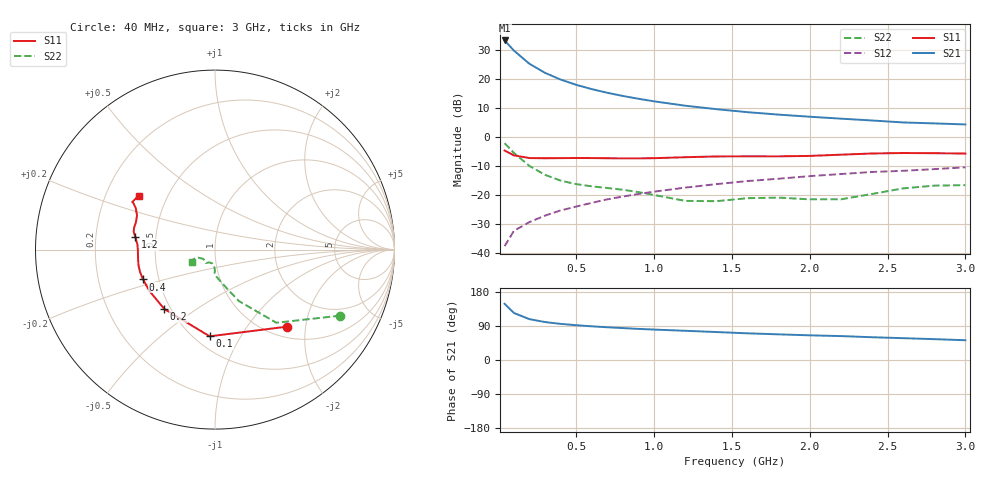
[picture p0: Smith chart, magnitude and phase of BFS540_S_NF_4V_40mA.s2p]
! Filename:  BFS540E.S2P  Version:  4.0
! Philips part #: BFS540  Date: Jun 1994
! Bias condition: Vce=4V, Ic=40mA
#  MHz  S  MA  R  50
! Freq  S11  S21  S12  S22  !GUM [dB]
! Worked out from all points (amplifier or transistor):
!   21 points, 40 MHz to 3 GHz, reference 50 ohm
!   highest |S21| = 33.5 dB at 40 MHz (marker M1)
!   |S21| within 3 dB of that: start of sweep to 91.2 MHz
!   unconditionally stable (mu >= 1): 539.7 MHz to end of sweep
!   at 300 MHz: K = 0.87, MSG = 24.7 dB, |S12| = -27.1 dB
!   at 1 GHz: K = 1.07, MAG = 14.1 dB, |S12| = -18.9 dB
!   at 3 GHz: K = 1.01, MAG = 6.9 dB, |S12| = -10.4 dB
!   lowest NFmin = 1.60 dB at 500 MHz
!   S11 on the Smith chart (normalised r, x): 40 MHz: 1.21, -1.58; 100 MHz: 0.59, -0.75; 200 MHz: 0.46, -0.38; 400 MHz: 0.41, -0.17; 1.2 GHz: 0.38, +0.07; 3 GHz: 0.34, +0.28
40  0.587 -47.0  47.17 148.3  0.013 71.2  0.789 -27.8
100  0.484 -93.5  31.47 124.0  0.024 60.7  0.532 -50.0
200  0.435 -130.5  18.56 107.7  0.034 59.9  0.317 -65.0
300  0.432 -147.6  12.97 100.1  0.044 62.8  0.223 -73.4
400  0.434 -157.5  9.921 95.3  0.054 65.7  0.177 -80.7
500  0.436 -163.6  8.049 91.8  0.063 67.5  0.154 -86.2
600  0.435 -168.4  6.777 88.9  0.073 68.8  0.141 -89.5
700  0.432 -172.5  5.864 86.4  0.084 69.9  0.132 -90.8
800  0.43 -176.4  5.166 84.2  0.094 70.7  0.123 -90.4
900  0.43 179.8  4.618 82.1  0.104 71.1  0.112 -90.5
1000  0.433 176.3  4.17 80.3  0.114 71.5  0.1 -91.7
1200  0.45 170.9  3.505 77.1  0.134 72.1  0.079 -100.5
1400  0.464 167.6  3.052 73.8  0.154 72.4  0.078 -114.4
1600  0.467 164.7  2.709 70.4  0.174 71.4  0.088 -122.5
1800  0.466 161.0  2.456 67.7  0.191 71.2  0.09 -124.6
2000  0.474 156.4  2.259 65.1  0.212 70.7  0.084 -128.8
2200  0.498 152.4  2.092 63.1  0.23 70.7  0.084 -142.4
2400  0.522 150.4  1.945 60.1  0.25 70.1  0.104 -154.4
2600  0.532 150.1  1.799 57.6  0.262 68.7  0.13 -156.4
2800  0.528 148.4  1.732 55.0  0.28 68.3  0.145 -152.2
3000  0.521 144.7  1.661 52.2  0.301 67.3  0.148 -151.0
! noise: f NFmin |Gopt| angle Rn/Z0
500  1.6  0.153  164  0.15
900  1.9  0.253  170  0.16
2000  2.6  0.496  -152  0.14
